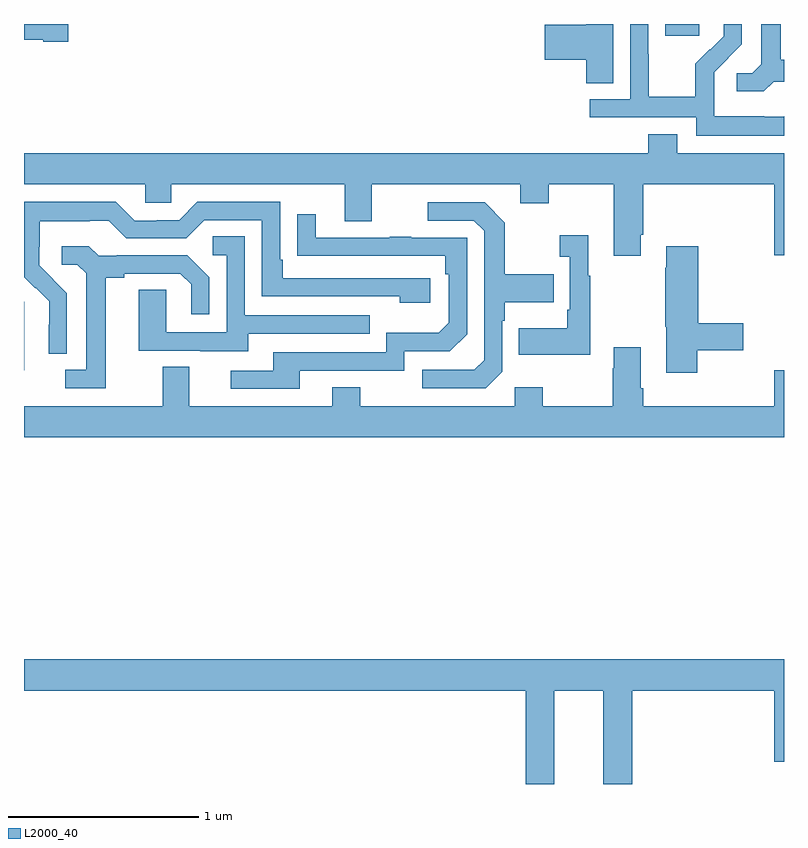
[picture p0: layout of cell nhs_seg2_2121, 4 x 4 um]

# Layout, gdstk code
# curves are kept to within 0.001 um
import gdstk
lib = gdstk.Library(unit=1e-6, precision=1e-09)
def R(c, l, rs):  # rectangles x0, y0, x1, y1
    for r in rs: c.add(gdstk.rectangle(r[:2], r[2:], *l))
def P(c, l, *ps):  # polygons
    for p in ps: c.add(gdstk.Polygon(p, *l))
L2000_40 = (2000, 40)

nhs_seg2_2121 = lib.new_cell('nhs_seg2_2121')
R(nhs_seg2_2121, L2000_40, [(221,659.978,221.002,660.339), (224.375,661.737,224.554,661.8)])
P(nhs_seg2_2121, L2000_40, [(221.233,661.8),(221,661.8),(221,661.718),(221.1,661.718),(221.1,661.706),(221.233,661.706)],
  [(224.101,661.8),(223.958,661.8),(223.958,661.796),(223.74,661.796),(223.74,661.613),(223.958,661.613),(223.958,661.489),(224.101,661.489)],
  [(224.946,661.497),(225,661.497),(225,661.613),(224.983,661.613),(224.983,661.8),(224.879,661.8),(224.879,661.589),(224.832,661.542),(224.751,661.542),(224.751,661.445),(224.894,661.445)],
  [(225,661.314),(224.997,661.311),(224.897,661.311),(224.897,661.315),(224.634,661.315),(224.634,661.449),(224.632,661.449),(224.632,661.546),(224.778,661.694),(224.778,661.8),(224.684,661.8),(224.684,661.736),(224.613,661.665),(224.61,661.668),(224.533,661.591),(224.533,661.417),(224.289,661.417),(224.289,661.64),(224.286,661.64),(224.286,661.8),(224.19,661.8),(224.19,661.404),(223.977,661.404),(223.977,661.308),(224.538,661.308),(224.538,661.211),(225,661.211)],
  [(224.245,660.691),(224.258,660.691),(224.258,660.956),(224.948,660.956),(224.948,660.582),(225,660.582),(225,661.12),(224.437,661.12),(224.437,661.219),(224.285,661.219),(224.285,661.12),(221,661.12),(221,660.956),(221.637,660.956),(221.637,660.858),(221.775,660.858),(221.775,660.956),(222.689,660.956),(222.689,660.762),(222.829,660.762),(222.829,660.956),(223.613,660.956),(223.613,660.857),(223.761,660.857),(223.761,660.956),(224.105,660.956),(224.105,660.579),(224.245,660.579)],
  [(221.226,660.382),(221.08,660.53),(221.08,660.627),(221.082,660.627),(221.082,660.761),(221.345,660.761),(221.345,660.765),(221.445,660.765),(221.538,660.672),(221.853,660.672),(221.949,660.768),(222.252,660.768),(222.252,660.366),(222.977,660.366),(222.977,660.332),(223.138,660.332),(223.138,660.462),(222.361,660.462),(222.361,660.559),(222.348,660.559),(222.348,660.864),(221.913,660.864),(221.817,660.768),(221.699,660.768),(221.699,660.765),(221.583,660.765),(221.483,660.865),(221,660.865),(221,660.466),(221.058,660.408),(221.061,660.411),(221.132,660.341),(221.132,660.218),(221.13,660.218),(221.13,660.064),(221.226,660.064)],
  [(223.518,659.97),(223.518,660.239),(223.531,660.239),(223.531,660.335),(223.787,660.335),(223.787,660.483),(223.531,660.483),(223.531,660.755),(223.425,660.861),(223.125,660.861),(223.125,660.765),(223.368,660.765),(223.422,660.711),(223.422,660.03),(223.371,659.979),(223.095,659.979),(223.095,659.883),(223.431,659.883)],
  [(222.451,659.976),(223.002,659.976),(223.002,660.078),(223.242,660.078),(223.332,660.168),(223.332,660.675),(223.037,660.675),(223.037,660.68),(222.925,660.68),(222.925,660.675),(222.535,660.675),(222.535,660.799),(222.439,660.799),(222.439,660.58),(223.216,660.579),(223.216,660.482),(223.236,660.482),(223.236,660.228),(223.183,660.175),(222.906,660.175),(222.906,660.072),(222.311,660.072),(222.311,659.976),(222.087,659.976),(222.087,659.88),(222.451,659.88)],
  [(223.981,660.475),(223.969,660.475),(223.969,660.688),(223.821,660.688),(223.821,660.575),(223.872,660.575),(223.872,660.295),(223.86,660.295),(223.86,660.199),(223.603,660.199),(223.603,660.059),(223.981,660.059)],
  [(222.181,660.171),(222.821,660.171),(222.821,660.267),(222.162,660.267),(222.162,660.683),(221.994,660.683),(221.994,660.582),(222.066,660.582),(222.066,660.177),(221.748,660.177),(221.748,660.401),(221.603,660.401),(221.603,660.081),(221.927,660.081),(221.927,660.077),(222.181,660.077)],
  [(224.544,660.082),(224.785,660.082),(224.785,660.224),(224.549,660.224),(224.549,660.631),(224.381,660.631),(224.381,660.518),(224.374,660.518),(224.374,660.207),(224.381,660.207),(224.381,659.964),(224.544,659.964)],
  [(221.431,660.464),(221.527,660.464),(221.527,660.486),(221.822,660.486),(221.879,660.429),(221.879,660.273),(221.976,660.273),(221.976,660.466),(221.86,660.582),(221.488,660.582),(221.488,660.579),(221.394,660.579),(221.342,660.631),(221.199,660.631),(221.199,660.534),(221.28,660.534),(221.327,660.487),(221.327,659.979),(221.217,659.979),(221.217,659.883),(221.431,659.883)],
  [(225,659.977),(224.948,659.977),(224.948,659.788),(224.258,659.788),(224.258,659.884),(224.245,659.884),(224.245,660.1),(224.105,660.1),(224.105,659.987),(224.098,659.987),(224.098,659.788),(223.731,659.788),(223.731,659.887),(223.584,659.887),(223.584,659.788),(222.771,659.788),(222.771,659.887),(222.623,659.887),(222.623,659.788),(221.869,659.788),(221.869,659.996),(221.729,659.996),(221.729,659.788),(221,659.788),(221,659.624),(225,659.624)],
  [(223.792,658.292),(224.048,658.292),(224.048,657.8),(224.201,657.8),(224.201,658.292),(224.948,658.292),(224.948,657.918),(225,657.918),(225,658.456),(221,658.456),(221,658.292),(223.64,658.292),(223.64,657.8),(223.792,657.8)])

lib.write_gds('nhs_seg2_2121.gds')
